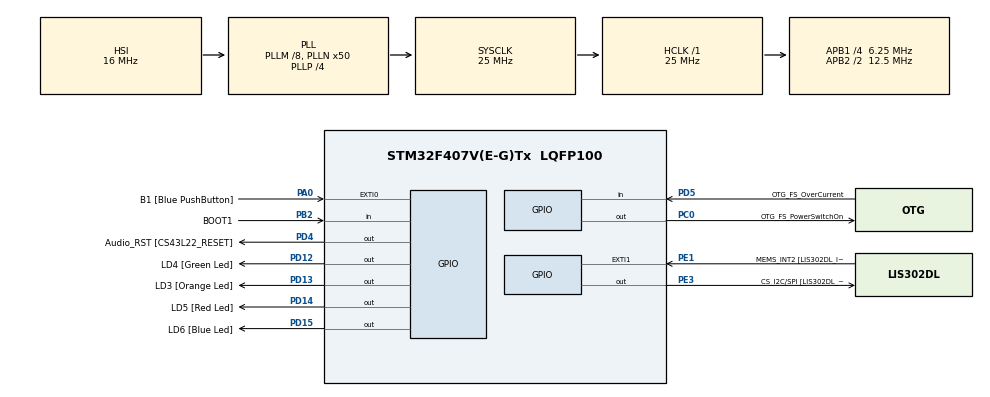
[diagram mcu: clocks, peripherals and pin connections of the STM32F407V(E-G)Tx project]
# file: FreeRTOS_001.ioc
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Mcu.Family=STM32F4
Mcu.Name=STM32F407V(E-G)Tx
Mcu.Package=LQFP100
NVIC.PriorityGroup=NVIC_PRIORITYGROUP_4
NVIC.TIM6_DAC_IRQn=true\:0\:0\:false\:false\:true\:false\:true\:true
NVIC.TimeBase=TIM6_DAC_IRQn
NVIC.TimeBaseIP=TIM6
PA0-WKUP.GPIO_Label=B1 [Blue PushButton]
PA0-WKUP.Signal=GPXTI0
PA10.GPIO_Label=OTG_FS_ID
PA10.GPIO_Mode=GPIO_MODE_AF_PP
PA10.GPIO_PuPd=GPIO_NOPULL
PA10.GPIO_Speed=GPIO_SPEED_FREQ_LOW
PA10.Signal=USB_OTG_FS_ID
PA11.GPIO_Label=OTG_FS_DM
PA11.GPIO_Mode=GPIO_MODE_AF_PP
PA11.GPIO_PuPd=GPIO_NOPULL
PA11.GPIO_Speed=GPIO_SPEED_FREQ_LOW
PA11.Signal=USB_OTG_FS_DM
PA12.GPIO_Label=OTG_FS_DP
PA12.GPIO_Mode=GPIO_MODE_AF_PP
PA12.GPIO_PuPd=GPIO_NOPULL
PA12.GPIO_Speed=GPIO_SPEED_FREQ_LOW
PA12.Signal=USB_OTG_FS_DP
PA13.GPIO_Label=SWDIO
PA13.Signal=SYS_JTMS-SWDIO
PA14.GPIO_Label=SWCLK
PA14.Signal=SYS_JTCK-SWCLK
PA4.GPIO_Label=I2S3_WS [CS43L22_LRCK]
PA4.GPIO_Mode=GPIO_MODE_AF_PP
PA4.GPIO_PuPd=GPIO_NOPULL
PA4.GPIO_Speed=GPIO_SPEED_FREQ_LOW
PA4.Signal=I2S3_WS
PA5.GPIO_Label=SPI1_SCK [LIS302DL_SCL/SPC]
PA5.GPIO_Mode=GPIO_MODE_AF_PP
PA5.GPIO_PuPd=GPIO_NOPULL
PA5.GPIO_Speed=GPIO_SPEED_FREQ_LOW
PA5.Signal=SPI1_SCK
PA6.GPIO_Label=SPI1_MISO [LIS302DL_SDO]
PA6.GPIO_Mode=GPIO_MODE_AF_PP
PA6.GPIO_PuPd=GPIO_NOPULL
PA6.GPIO_Speed=GPIO_SPEED_FREQ_LOW
PA6.Signal=SPI1_MISO
PA7.GPIO_Label=SPI1_MOSI [LIS302DL_SDA/SDI/SDO]
PA7.GPIO_Mode=GPIO_MODE_AF_PP
PA7.GPIO_PuPd=GPIO_NOPULL
PA7.GPIO_Speed=GPIO_SPEED_FREQ_LOW
PA7.Signal=SPI1_MOSI
PA9.GPIO_Label=VBUS_FS
PA9.GPIO_Mode=GPIO_MODE_INPUT
PA9.GPIO_PuPd=GPIO_NOPULL
PA9.Signal=USB_OTG_FS_VBUS
PB10.GPIO_Label=CLK_IN [MP45DT02_CLK]
PB10.GPIO_Mode=GPIO_MODE_AF_PP
PB10.GPIO_PuPd=GPIO_NOPULL
PB10.GPIO_Speed=GPIO_SPEED_FREQ_LOW
PB10.Signal=I2S2_CK
PB2.GPIO_Label=BOOT1
PB2.GPIO_Mode=GPIO_MODE_INPUT
PB2.GPIO_PuPd=GPIO_NOPULL
PB2.Signal=GPIO_Input
PB3.GPIO_Label=SWO
PB3.Signal=SYS_JTDO-SWO
PB6.GPIO_Label=Audio_SCL [CS43L22_SCL]
PB6.GPIO_Mode=GPIO_MODE_AF_OD
PB6.GPIO_PuPd=GPIO_NOPULL
PB6.GPIO_Speed=GPIO_SPEED_FREQ_LOW
PB6.Signal=I2C1_SCL
PB9.GPIO_Label=Audio_SDA [CS43L22_SDA]
PB9.GPIO_Mode=GPIO_MODE_AF_OD
PB9.GPIO_PuPd=GPIO_NOPULL
PB9.GPIO_Speed=GPIO_SPEED_FREQ_LOW
PB9.Signal=I2C1_SDA
PC0.GPIO_Label=OTG_FS_PowerSwitchOn
PC0.GPIO_PuPd=GPIO_NOPULL
PC0.GPIO_Speed=GPIO_SPEED_FREQ_LOW
PC0.PinState=GPIO_PIN_SET
PC0.Signal=GPIO_Output
PC10.GPIO_Label=I2S3_SCK [CS43L22_SCLK]
PC10.GPIO_Mode=GPIO_MODE_AF_PP
PC10.GPIO_PuPd=GPIO_NOPULL
PC10.GPIO_Speed=GPIO_SPEED_FREQ_LOW
PC10.Signal=I2S3_CK
PC12.GPIO_Label=I2S3_SD [CS43L22_SDIN]
PC12.GPIO_Mode=GPIO_MODE_AF_PP
PC12.GPIO_PuPd=GPIO_NOPULL
PC12.GPIO_Speed=GPIO_SPEED_FREQ_LOW
PC12.Signal=I2S3_SD
PC14-OSC32_IN.GPIO_Label=PC14-OSC32_IN
PC14-OSC32_IN.Signal=RCC_OSC32_IN
PC15-OSC32_OUT.GPIO_Label=PC15-OSC32_OUT
PC15-OSC32_OUT.Signal=RCC_OSC32_OUT
PC3.GPIO_Label=PDM_OUT [MP45DT02_DOUT]
PC3.GPIO_Mode=GPIO_MODE_AF_PP
PC3.GPIO_PuPd=GPIO_NOPULL
PC3.GPIO_Speed=GPIO_SPEED_FREQ_LOW
PC3.Signal=I2S2_SD
PC7.GPIO_Label=I2S3_MCK [CS43L22_MCLK]
PC7.GPIO_Mode=GPIO_MODE_AF_PP
PC7.GPIO_PuPd=GPIO_NOPULL
PC7.GPIO_Speed=GPIO_SPEED_FREQ_LOW
PC7.Signal=I2S3_MCK
PD12.GPIO_Label=LD4 [Green Led]
PD12.GPIO_PuPd=GPIO_NOPULL
PD12.GPIO_Speed=GPIO_SPEED_FREQ_LOW
PD12.Signal=GPIO_Output
PD13.GPIO_Label=LD3 [Orange Led]
PD13.GPIO_PuPd=GPIO_NOPULL
PD13.GPIO_Speed=GPIO_SPEED_FREQ_LOW
PD13.Signal=GPIO_Output
PD14.GPIO_Label=LD5 [Red Led]
PD14.GPIO_PuPd=GPIO_NOPULL
PD14.GPIO_Speed=GPIO_SPEED_FREQ_LOW
PD14.Signal=GPIO_Output
PD15.GPIO_Label=LD6 [Blue Led]
PD15.GPIO_PuPd=GPIO_NOPULL
PD15.GPIO_Speed=GPIO_SPEED_FREQ_LOW
PD15.Signal=GPIO_Output
PD4.GPIO_Label=Audio_RST [CS43L22_RESET]
PD4.GPIO_PuPd=GPIO_NOPULL
PD4.GPIO_Speed=GPIO_SPEED_FREQ_LOW
PD4.Signal=GPIO_Output
PD5.GPIO_Label=OTG_FS_OverCurrent
PD5.GPIO_Mode=GPIO_MODE_INPUT
PD5.GPIO_PuPd=GPIO_NOPULL
PD5.Signal=GPIO_Input
PE1.GPIO_Label=MEMS_INT2 [LIS302DL_INT2]
PE1.GPIO_ModeDefaultEXTI=GPIO_MODE_EVT_RISING
PE1.GPIO_PuPd=GPIO_NOPULL
PE1.Signal=GPXTI1
PE3.GPIO_Label=CS_I2C/SPI [LIS302DL_CS_I2C/SPI]
PE3.GPIO_PuPd=GPIO_NOPULL
PE3.GPIO_Speed=GPIO_SPEED_FREQ_LOW
PE3.Signal=GPIO_Output
PH0-OSC_IN.GPIO_Label=PH0-OSC_IN
PH0-OSC_IN.Signal=RCC_OSC_IN
PH1-OSC_OUT.GPIO_Label=PH1-OSC_OUT
PH1-OSC_OUT.Signal=RCC_OSC_OUT
ProjectManager.HeapSize=0x200
ProjectManager.StackSize=0x400
ProjectManager.TargetToolchain=STM32CubeIDE
RCC.48MHZClocksFreq_Value=14285714.285714285
RCC.AHBFreq_Value=25000000
RCC.APB1CLKDivider=RCC_HCLK_DIV4
RCC.APB1Freq_Value=6250000
RCC.APB1TimFreq_Value=12500000
RCC.APB2CLKDivider=RCC_HCLK_DIV2
RCC.APB2Freq_Value=12500000
RCC.APB2TimFreq_Value=25000000
RCC.CortexFreq_Value=25000000
RCC.HCLKFreq_Value=25000000
RCC.HSE_VALUE=8000000
RCC.HSI_VALUE=16000000
RCC.LSE_VALUE=32768
RCC.PLLM=8
RCC.PLLN=50
RCC.PLLP=RCC_PLLP_DIV4
RCC.PLLQ=7
RCC.SYSCLKFreq_VALUE=25000000
RCC.SYSCLKSource=RCC_SYSCLKSOURCE_PLLCLK
RCC.VCOOutputFreq_Value=100000000
VP_SYS_VS_tim6.Mode=TIM6
board=STM32F407G-DISC1

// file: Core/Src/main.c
/* USER CODE BEGIN Header */
/**
  ******************************************************************************
  * @file           : main.c
  * @brief          : Main program body
  ******************************************************************************
  * @attention
  *
  * Copyright (c) 2024 STMicroelectronics.
  * All rights reserved.
  *
  * This software is licensed under terms that can be found in the LICENSE file
  * in the root directory of this software component.
  * If no LICENSE file comes with this software, it is provided AS-IS.
  *
  ******************************************************************************
  */
/* USER CODE END Header */
#include "main.h"

/* USER CODE BEGIN Includes */
#include "FreeRTOS.h"
#include "Task.h"
#include <stdio.h>
/* USER CODE END Includes */

/* USER CODE BEGIN PM */
#define DWT_CTRL (*(volatile uint32_t*)0xE0001000)
/* USER CODE END PM */

void SystemClock_Config(void);
static void MX_GPIO_Init(void);
/* USER CODE BEGIN PFP */
static void Task1_Handler(void* pParams);
static void Task2_Handler(void* pParams);
/* USER CODE END PFP */

/* USER CODE BEGIN 0 */
  void Task1_Handler(void* pParams)
  {
  	while(1)
  	{
  		printf("%s\n", (char*)pParams);

  	}
  }

  void Task2_Handler(void* pParams)
  {
  	while(1)
  	{
  		printf("%s\n", (char*)pParams);

  	}
  }

/* USER CODE END 0 */

int main(void)
{

  /* MCU Configuration--------------------------------------------------------*/

  /* Reset of all peripherals, Initializes the Flash interface and the Systick. */
  HAL_Init();

  /* Configure the system clock */
  SystemClock_Config();

  /* Initialize all configured peripherals */
  MX_GPIO_Init();
  /* USER CODE BEGIN 2 */
  DWT_CTRL |= (1 << 0);
  SEGGER_SYSVIEW_Conf();
  SEGGER_SYSVIEW_Start();
  TaskHandle_t task1_handle, task2_handle;
  BaseType_t ret = xTaskCreate(Task1_Handler, "Task1", 200, "Hello World from Task1", configMAX_PRIORITIES-1, &task1_handle);
  configASSERT(ret == pdPASS);

  ret = xTaskCreate(Task2_Handler, "Task2", 200, "Hello World from Task2", configMAX_PRIORITIES - 1, &task2_handle);
  configASSERT(ret == pdPASS);

  // start the freeRTOS scheduler
   vTaskStartScheduler();

  /* USER CODE END 2 */

  /* Infinite loop */
  while (1)
  {

  }
}

void SystemClock_Config(void)
{
  RCC_OscInitTypeDef RCC_OscInitStruct = {0};
  RCC_ClkInitTypeDef RCC_ClkInitStruct = {0};

  /** Configure the main internal regulator output voltage
  */
  __HAL_RCC_PWR_CLK_ENABLE();
  __HAL_PWR_VOLTAGESCALING_CONFIG(PWR_REGULATOR_VOLTAGE_SCALE1);

  /** Initializes the RCC Oscillators according to the specified parameters
  * in the RCC_OscInitTypeDef structure.
  */
  RCC_OscInitStruct.OscillatorType = RCC_OSCILLATORTYPE_HSI;
  RCC_OscInitStruct.HSIState = RCC_HSI_ON;
  RCC_OscInitStruct.HSICalibrationValue = RCC_HSICALIBRATION_DEFAULT;
  RCC_OscInitStruct.PLL.PLLState = RCC_PLL_ON;
  RCC_OscInitStruct.PLL.PLLSource = RCC_PLLSOURCE_HSI;
  RCC_OscInitStruct.PLL.PLLM = 8;
  RCC_OscInitStruct.PLL.PLLN = 50;
  RCC_OscInitStruct.PLL.PLLP = RCC_PLLP_DIV4;
  RCC_OscInitStruct.PLL.PLLQ = 7;
  if (HAL_RCC_OscConfig(&RCC_OscInitStruct) != HAL_OK)
  {
    Error_Handler();
  }

  /** Initializes the CPU, AHB and APB buses clocks
  */
  RCC_ClkInitStruct.ClockType = RCC_CLOCKTYPE_HCLK|RCC_CLOCKTYPE_SYSCLK
                              |RCC_CLOCKTYPE_PCLK1|RCC_CLOCKTYPE_PCLK2;
  RCC_ClkInitStruct.SYSCLKSource = RCC_SYSCLKSOURCE_PLLCLK;
  RCC_ClkInitStruct.AHBCLKDivider = RCC_SYSCLK_DIV1;
  RCC_ClkInitStruct.APB1CLKDivider = RCC_HCLK_DIV4;
  RCC_ClkInitStruct.APB2CLKDivider = RCC_HCLK_DIV2;

  if (HAL_RCC_ClockConfig(&RCC_ClkInitStruct, FLASH_LATENCY_0) != HAL_OK)
  {
    Error_Handler();
  }
}

static void MX_GPIO_Init(void)
{
  GPIO_InitTypeDef GPIO_InitStruct = {0};

  /* GPIO Ports Clock Enable */
  __HAL_RCC_GPIOE_CLK_ENABLE();
  __HAL_RCC_GPIOC_CLK_ENABLE();
  __HAL_RCC_GPIOH_CLK_ENABLE();
  __HAL_RCC_GPIOA_CLK_ENABLE();
  __HAL_RCC_GPIOB_CLK_ENABLE();
  __HAL_RCC_GPIOD_CLK_ENABLE();

  /*Configure GPIO pin Output Level */
  HAL_GPIO_WritePin(CS_I2C_SPI_GPIO_Port, CS_I2C_SPI_Pin, GPIO_PIN_RESET);

  /*Configure GPIO pin Output Level */
  HAL_GPIO_WritePin(OTG_FS_PowerSwitchOn_GPIO_Port, OTG_FS_PowerSwitchOn_Pin, GPIO_PIN_SET);

  /*Configure GPIO pin Output Level */
  HAL_GPIO_WritePin(GPIOD, LD4_Pin|LD3_Pin|LD5_Pin|LD6_Pin
                          |Audio_RST_Pin, GPIO_PIN_RESET);

  /*Configure GPIO pin : CS_I2C_SPI_Pin */
  GPIO_InitStruct.Pin = CS_I2C_SPI_Pin;
  GPIO_InitStruct.Mode = GPIO_MODE_OUTPUT_PP;
  GPIO_InitStruct.Pull = GPIO_NOPULL;
  GPIO_InitStruct.Speed = GPIO_SPEED_FREQ_LOW;
  HAL_GPIO_Init(CS_I2C_SPI_GPIO_Port, &GPIO_InitStruct);

  /*Configure GPIO pin : OTG_FS_PowerSwitchOn_Pin */
  GPIO_InitStruct.Pin = OTG_FS_PowerSwitchOn_Pin;
  GPIO_InitStruct.Mode = GPIO_MODE_OUTPUT_PP;
  GPIO_InitStruct.Pull = GPIO_NOPULL;
  GPIO_InitStruct.Speed = GPIO_SPEED_FREQ_LOW;
  HAL_GPIO_Init(OTG_FS_PowerSwitchOn_GPIO_Port, &GPIO_InitStruct);

  /*Configure GPIO pin : PDM_OUT_Pin */
  GPIO_InitStruct.Pin = PDM_OUT_Pin;
  GPIO_InitStruct.Mode = GPIO_MODE_AF_PP;
  GPIO_InitStruct.Pull = GPIO_NOPULL;
  GPIO_InitStruct.Speed = GPIO_SPEED_FREQ_LOW;
  GPIO_InitStruct.Alternate = GPIO_AF5_SPI2;
  HAL_GPIO_Init(PDM_OUT_GPIO_Port, &GPIO_InitStruct);

  /*Configure GPIO pin : B1_Pin */
  GPIO_InitStruct.Pin = B1_Pin;
  GPIO_InitStruct.Mode = GPIO_MODE_IT_RISING;
  GPIO_InitStruct.Pull = GPIO_NOPULL;
  HAL_GPIO_Init(B1_GPIO_Port, &GPIO_InitStruct);

  /*Configure GPIO pin : I2S3_WS_Pin */
  GPIO_InitStruct.Pin = I2S3_WS_Pin;
  GPIO_InitStruct.Mode = GPIO_MODE_AF_PP;
  GPIO_InitStruct.Pull = GPIO_NOPULL;
  GPIO_InitStruct.Speed = GPIO_SPEED_FREQ_LOW;
  GPIO_InitStruct.Alternate = GPIO_AF6_SPI3;
  HAL_GPIO_Init(I2S3_WS_GPIO_Port, &GPIO_InitStruct);

  /*Configure GPIO pins : SPI1_SCK_Pin SPI1_MISO_Pin SPI1_MOSI_Pin */
  GPIO_InitStruct.Pin = SPI1_SCK_Pin|SPI1_MISO_Pin|SPI1_MOSI_Pin;
  GPIO_InitStruct.Mode = GPIO_MODE_AF_PP;
  GPIO_InitStruct.Pull = GPIO_NOPULL;
  GPIO_InitStruct.Speed = GPIO_SPEED_FREQ_LOW;
  GPIO_InitStruct.Alternate = GPIO_AF5_SPI1;
  HAL_GPIO_Init(GPIOA, &GPIO_InitStruct);

  /*Configure GPIO pin : BOOT1_Pin */
  GPIO_InitStruct.Pin = BOOT1_Pin;
  GPIO_InitStruct.Mode = GPIO_MODE_INPUT;
  GPIO_InitStruct.Pull = GPIO_NOPULL;
  HAL_GPIO_Init(BOOT1_GPIO_Port, &GPIO_InitStruct);

  /*Configure GPIO pin : CLK_IN_Pin */
  GPIO_InitStruct.Pin = CLK_IN_Pin;
  GPIO_InitStruct.Mode = GPIO_MODE_AF_PP;
  GPIO_InitStruct.Pull = GPIO_NOPULL;
  GPIO_InitStruct.Speed = GPIO_SPEED_FREQ_LOW;
  GPIO_InitStruct.Alternate = GPIO_AF5_SPI2;
  HAL_GPIO_Init(CLK_IN_GPIO_Port, &GPIO_InitStruct);

  /*Configure GPIO pins : LD4_Pin LD3_Pin LD5_Pin LD6_Pin
                           Audio_RST_Pin */
  GPIO_InitStruct.Pin = LD4_Pin|LD3_Pin|LD5_Pin|LD6_Pin
                          |Audio_RST_Pin;
  GPIO_InitStruct.Mode = GPIO_MODE_OUTPUT_PP;
  GPIO_InitStruct.Pull = GPIO_NOPULL;
  GPIO_InitStruct.Speed = GPIO_SPEED_FREQ_LOW;
  HAL_GPIO_Init(GPIOD, &GPIO_InitStruct);

  /*Configure GPIO pins : I2S3_MCK_Pin I2S3_SCK_Pin I2S3_SD_Pin */
  GPIO_InitStruct.Pin = I2S3_MCK_Pin|I2S3_SCK_Pin|I2S3_SD_Pin;
  GPIO_InitStruct.Mode = GPIO_MODE_AF_PP;
  GPIO_InitStruct.Pull = GPIO_NOPULL;
  GPIO_InitStruct.Speed = GPIO_SPEED_FREQ_LOW;
  GPIO_InitStruct.Alternate = GPIO_AF6_SPI3;
  HAL_GPIO_Init(GPIOC, &GPIO_InitStruct);

  /*Configure GPIO pin : VBUS_FS_Pin */
  GPIO_InitStruct.Pin = VBUS_FS_Pin;
  GPIO_InitStruct.Mode = GPIO_MODE_INPUT;
  GPIO_InitStruct.Pull = GPIO_NOPULL;
  HAL_GPIO_Init(VBUS_FS_GPIO_Port, &GPIO_InitStruct);

  /*Configure GPIO pins : OTG_FS_ID_Pin OTG_FS_DM_Pin OTG_FS_DP_Pin */
  GPIO_InitStruct.Pin = OTG_FS_ID_Pin|OTG_FS_DM_Pin|OTG_FS_DP_Pin;
  GPIO_InitStruct.Mode = GPIO_MODE_AF_PP;
  GPIO_InitStruct.Pull = GPIO_NOPULL;
  GPIO_InitStruct.Speed = GPIO_SPEED_FREQ_LOW;
  GPIO_InitStruct.Alternate = GPIO_AF10_OTG_FS;
  HAL_GPIO_Init(GPIOA, &GPIO_InitStruct);

  /*Configure GPIO pin : OTG_FS_OverCurrent_Pin */
  GPIO_InitStruct.Pin = OTG_FS_OverCurrent_Pin;
  GPIO_InitStruct.Mode = GPIO_MODE_INPUT;
  GPIO_InitStruct.Pull = GPIO_NOPULL;
  HAL_GPIO_Init(OTG_FS_OverCurrent_GPIO_Port, &GPIO_InitStruct);

  /*Configure GPIO pins : Audio_SCL_Pin Audio_SDA_Pin */
  GPIO_InitStruct.Pin = Audio_SCL_Pin|Audio_SDA_Pin;
  GPIO_InitStruct.Mode = GPIO_MODE_AF_OD;
  GPIO_InitStruct.Pull = GPIO_NOPULL;
  GPIO_InitStruct.Speed = GPIO_SPEED_FREQ_LOW;
  GPIO_InitStruct.Alternate = GPIO_AF4_I2C1;
  HAL_GPIO_Init(GPIOB, &GPIO_InitStruct);

  /*Configure GPIO pin : MEMS_INT2_Pin */
  GPIO_InitStruct.Pin = MEMS_INT2_Pin;
  GPIO_InitStruct.Mode = GPIO_MODE_EVT_RISING;
  GPIO_InitStruct.Pull = GPIO_NOPULL;
  HAL_GPIO_Init(MEMS_INT2_GPIO_Port, &GPIO_InitStruct);

}

void HAL_TIM_PeriodElapsedCallback(TIM_HandleTypeDef *htim)
{
  if (htim->Instance == TIM6) {
    HAL_IncTick();
  }
}

void Error_Handler(void)
{
  __disable_irq();
  while (1)
  {
  }
}
